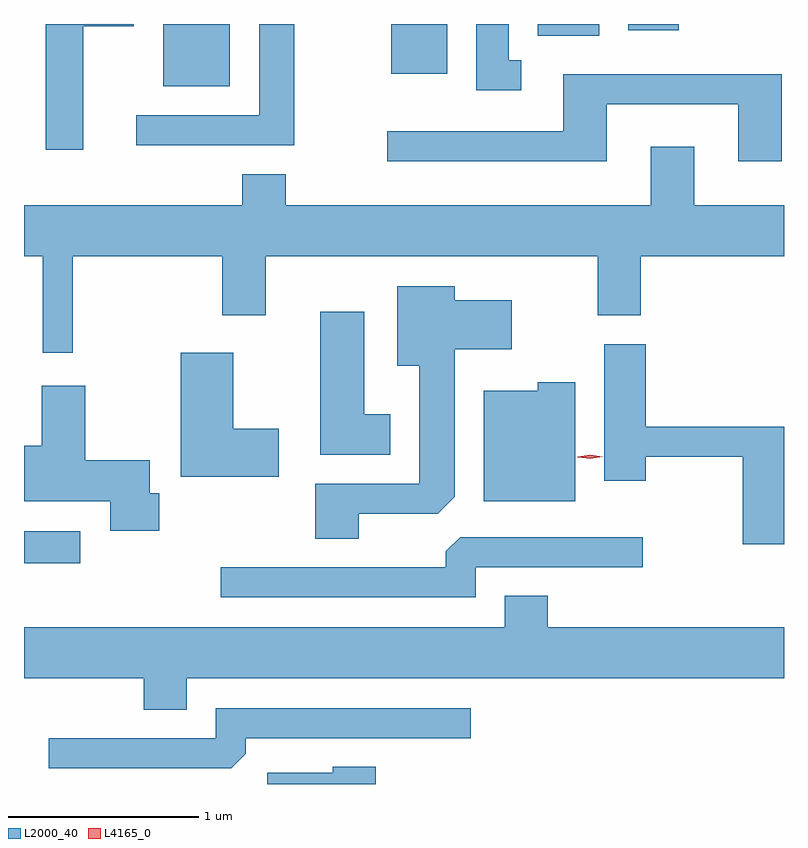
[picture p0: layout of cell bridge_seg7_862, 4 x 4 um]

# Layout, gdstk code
import gdstk
lib = gdstk.Library(unit=1e-6, precision=1e-09)
def R(c, l, rs):  # rectangles x0, y0, x1, y1
    for r in rs: c.add(gdstk.rectangle(r[:2], r[2:], *l))
def P(c, l, *ps):  # polygons
    for p in ps: c.add(gdstk.Polygon(p, *l))
L2000_40 = (2000, 40)
L4165_0 = (4165, 0)

bridge_seg7_862 = lib.new_cell('bridge_seg7_862')
R(bridge_seg7_862, L2000_40, [(224.802,1694.941,225.098,1695.109), (225.536,1697.451,225.884,1697.779), (226.736,1697.516,227.029,1697.779), (227.506,1697.716,227.829,1697.779), (227.981,1697.746,228.249,1697.779)])
P(bridge_seg7_862, L2000_40, [(225.114,1697.766),(225.379,1697.766),(225.379,1697.779),(224.916,1697.779),(224.916,1697.116),(225.114,1697.116)],
  [(226.224,1697.779),(226.041,1697.779),(226.041,1697.299),(225.393,1697.299),(225.393,1697.141),(226.224,1697.141)],
  [(227.418,1697.589),(227.354,1697.589),(227.354,1697.779),(227.181,1697.779),(227.181,1697.431),(227.418,1697.431)],
  [(227.869,1697.356),(228.561,1697.356),(228.561,1697.056),(228.789,1697.056),(228.789,1697.514),(227.641,1697.514),(227.641,1697.214),(226.713,1697.214),(226.713,1697.056),(227.869,1697.056)],
  [(228.101,1697.134),(228.101,1696.824),(226.179,1696.824),(226.179,1696.989),(225.951,1696.989),(225.951,1696.824),(224.802,1696.824),(224.802,1696.556),(224.901,1696.556),(224.901,1696.048),(225.059,1696.048),(225.059,1696.556),(225.846,1696.556),(225.846,1696.246),(226.074,1696.246),(226.074,1696.556),(227.821,1696.556),(227.821,1696.246),(228.049,1696.246),(228.049,1696.556),(228.802,1696.556),(228.802,1696.824),(228.329,1696.824),(228.329,1697.134)],
  [(226.564,1695.201),(226.979,1695.201),(227.069,1695.292),(227.069,1696.066),(227.369,1696.066),(227.369,1696.324),(227.069,1696.324),(227.069,1696.399),(226.766,1696.399),(226.766,1695.981),(226.881,1695.981),(226.881,1695.359),(226.336,1695.359),(226.336,1695.071),(226.564,1695.071)],
  [(226.729,1695.724),(226.594,1695.724),(226.594,1696.264),(226.361,1696.264),(226.361,1695.511),(226.729,1695.511)],
  [(228.802,1695.659),(228.074,1695.659),(228.074,1696.094),(227.856,1696.094),(227.856,1695.376),(228.074,1695.376),(228.074,1695.501),(228.586,1695.501),(228.586,1695.041),(228.802,1695.041)],
  [(226.144,1695.649),(225.904,1695.649),(225.904,1696.049),(225.626,1696.049),(225.626,1695.396),(226.144,1695.396)],
  [(227.704,1695.894),(227.506,1695.894),(227.506,1695.849),(227.221,1695.849),(227.221,1695.266),(227.704,1695.266)],
  [(225.514,1695.309),(225.464,1695.309),(225.464,1695.484),(225.124,1695.484),(225.124,1695.874),(224.896,1695.874),(224.896,1695.559),(224.802,1695.559),(224.802,1695.266),(225.256,1695.266),(225.256,1695.111),(225.514,1695.111)],
  [(227.179,1694.921),(228.058,1694.921),(228.058,1695.079),(227.097,1695.079),(227.021,1695.004),(227.021,1694.919),(225.838,1694.919),(225.838,1694.761),(227.179,1694.761)],
  [(225.659,1694.336),(228.802,1694.336),(228.802,1694.604),(227.559,1694.604),(227.559,1694.769),(227.331,1694.769),(227.331,1694.604),(224.802,1694.604),(224.802,1694.336),(225.431,1694.336),(225.431,1694.171),(225.659,1694.171)],
  [(225.969,1693.937),(225.969,1694.021),(227.153,1694.021),(227.153,1694.179),(225.811,1694.179),(225.811,1694.019),(224.933,1694.019),(224.933,1693.861),(225.894,1693.861)],
  [(226.654,1693.869),(226.426,1693.869),(226.426,1693.839),(226.081,1693.839),(226.081,1693.779),(226.654,1693.779)])
P(bridge_seg7_862, L4165_0, [(227.782,1695.491),(227.716,1695.5),(227.715,1695.5),(227.716,1695.501),(227.782,1695.511),(227.848,1695.502),(227.848,1695.501),(227.848,1695.501)])

lib.write_gds('bridge_seg7_862.gds')
